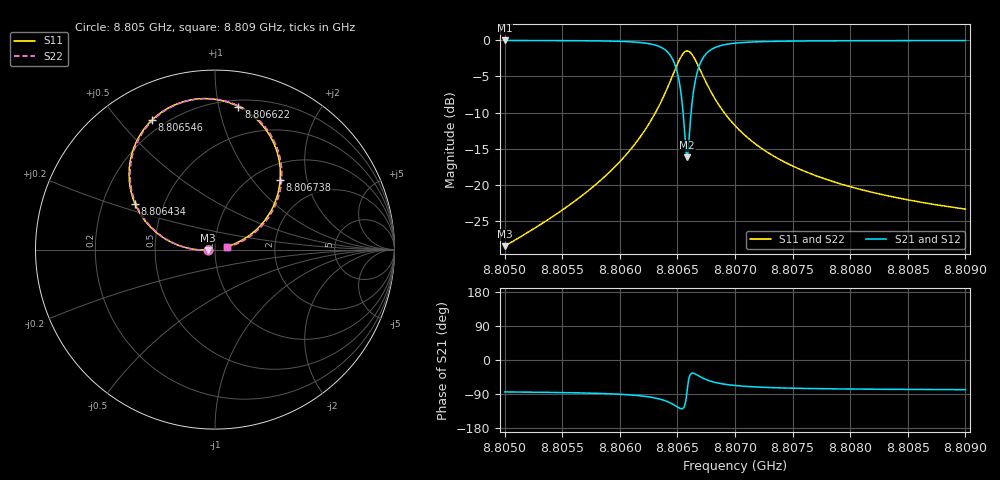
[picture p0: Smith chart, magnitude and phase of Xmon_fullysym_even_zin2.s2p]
! Sonnet Data File
! From: emgraph Version : 16.52
! From Emgraph Data: 171117_Xmon_fullysym
! Data File Written: 11/17/2017 17:30:37
!< HDATE 11/17/2017 15:37:35
!< MDATE 11/17/2017 15:38:17
!< PARAMS
!< Lj = 11.0
!< Gap = 6.0
!< Pwid = 2000.0
!< Width = 10.0
!< END PARAMS
# GHZ S MA R 50.90000
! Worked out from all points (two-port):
!   2597 points, 8.805 GHz to 8.809 GHz, reference 50.9 ohm
!   highest |S21| = -0.01 dB at 8.805 GHz (marker M1); lowest = -16.2 dB at 8.806584 GHz (marker M2)
!   |S21| within 3 dB of the highest: start of sweep to 8.80647 GHz; 8.806703 GHz to end of sweep
!   lowest |S11| = -28.5 dB at 8.805 GHz (marker M3), VSWR 1.08, Z = 47.2 - j0.163 ohm
!   |S11| at or under -10 dB: start of sweep to 8.80631 GHz; 8.806906 GHz to end of sweep
!   |S22| runs from -28.5 to -1.5 dB; largest |S21 - S12| = 2.6e-10
!   S11 on the Smith chart (normalised r, x): 8.805 GHz: 0.93, -0.00; 8.806434 GHz: 0.34, +0.24; 8.806546 GHz: 0.15, +0.62; 8.806622 GHz: 0.25, +1.15; 8.806738 GHz: 1.29, +1.40; 8.809 GHz: 1.14, +0.04
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8.805  0.03753 -177.4  0.9985 -84.3  0.9985 -84.3  0.03746 -173.5
!< P1 F=8.805 Eeff=(6.44676284 -2.9786e-5) Z0=(51.7990067 1.19063e-4) R=0.0 C=0.0
!< P2 F=8.805 Eeff=(6.44676284 -2.9786e-5) Z0=(51.7990067 1.19063e-4) R=0.0 C=0.0
8.805668  0.08356 -179.1  0.9943 -86.9  0.9943 -86.9  0.08348 -177.8
8.80606  0.1631 176.1  0.98 -91.5  0.98 -91.5  0.163 176.2
8.806226  0.2443 170.6  0.9559 -96.2  0.9559 -96.2  0.2441 170.4
8.806334  0.3438 163.5  0.9123 -102.2  0.9123 -102.2  0.3436 163.1
8.806434  0.5118 150.3  0.7963 -112.6  0.7963 -112.6  0.5114 149.7
8.8065  0.6837 133.7  0.5945 -123.9  0.5945 -123.9  0.6833 132.9
8.806524  0.7504 125.1  0.4731 -127.8  0.4731 -127.8  0.75 124.3
8.806546  0.8028 115.9  0.3385 -128.1  0.3385 -128.1  0.8023 115.1
8.806568  0.8367 105.8  0.203 -114.9  0.203 -114.9  0.8362 105.0
8.806584  0.8451 98.2  0.1552 -81.5  0.1552 -81.5  0.8446 97.3
8.8066  0.8385 90.6  0.2033 -48.5  0.2033 -48.5  0.838 89.7
8.806622  0.8078 80.7  0.336 -35.4  0.336 -35.4  0.8074 79.7
8.806644  0.7598 71.9  0.4664 -35.5  0.4664 -35.5  0.7594 70.9
8.806668  0.6987 63.6  0.5835 -39.1  0.5835 -39.1  0.6983 62.6
8.806738  0.5326 47.0  0.7875 -50.2  0.7875 -50.2  0.5323 45.8
8.806842  0.3755 34.4  0.902 -60.1  0.902 -60.1  0.3753 33.0
8.807  0.2568 25.8  0.9562 -67.3  0.9562 -67.3  0.2567 24.2
8.807286  0.1669 19.7  0.9823 -72.5  0.9823 -72.5  0.1668 17.8
8.807668  0.1183 16.6  0.9914 -75.4  0.9914 -75.4  0.1182 14.2
8.808334  0.08352 14.6  0.9959 -77.4  0.9959 -77.4  0.0835 11.5
8.809  0.0678 13.8  0.9974 -78.3  0.9974 -78.3  0.06778 10.2
